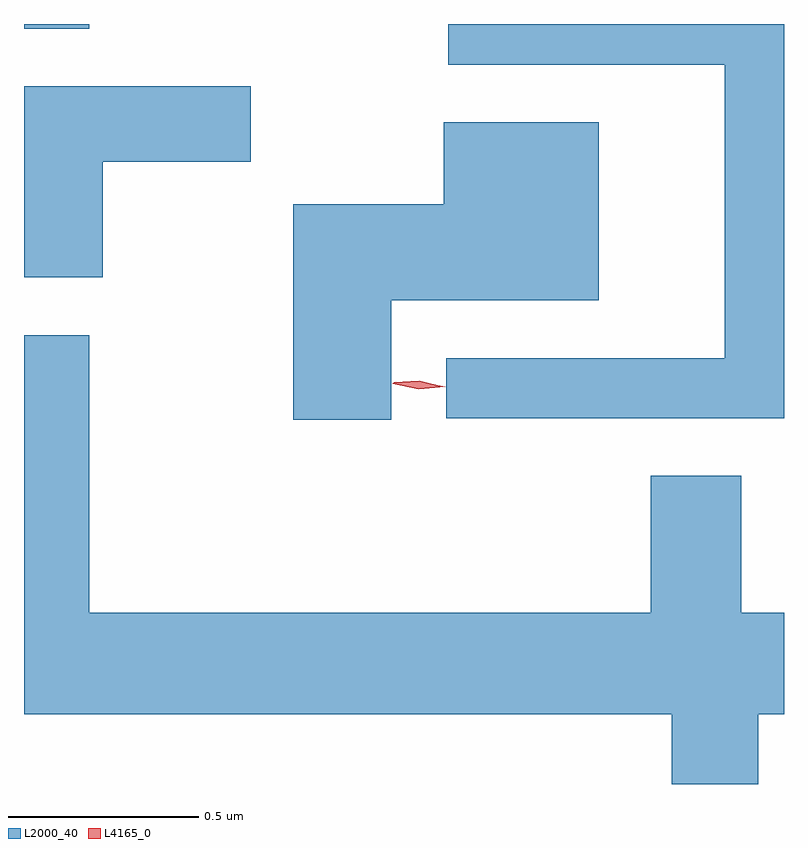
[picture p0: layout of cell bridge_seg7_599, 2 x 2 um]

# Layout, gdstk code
import gdstk
lib = gdstk.Library(unit=1e-6, precision=1e-09)
def R(c, l, rs):  # rectangles x0, y0, x1, y1
    for r in rs: c.add(gdstk.rectangle(r[:2], r[2:], *l))
def P(c, l, *ps):  # polygons
    for p in ps: c.add(gdstk.Polygon(p, *l))
L2000_40 = (2000, 40)
L4165_0 = (4165, 0)

bridge_seg7_599 = lib.new_cell('bridge_seg7_599')
R(bridge_seg7_599, L2000_40, [(763.267,1747.201,763.439,1747.213)])
P(bridge_seg7_599, L2000_40, [(765.267,1747.213),(764.383,1747.213),(764.383,1747.106),(765.111,1747.106),(765.111,1746.334),(764.378,1746.334),(764.378,1746.176),(765.267,1746.176)],
  [(763.474,1746.851),(763.864,1746.851),(763.864,1747.049),(763.267,1747.049),(763.267,1746.546),(763.474,1746.546)],
  [(764.234,1746.486),(764.779,1746.486),(764.779,1746.954),(764.371,1746.954),(764.371,1746.739),(763.976,1746.739),(763.976,1746.171),(764.234,1746.171)],
  [(765.199,1745.396),(765.267,1745.396),(765.267,1745.664),(765.154,1745.664),(765.154,1746.024),(764.916,1746.024),(764.916,1745.664),(763.439,1745.664),(763.439,1746.394),(763.267,1746.394),(763.267,1745.396),(764.971,1745.396),(764.971,1745.213),(765.199,1745.213)])
P(bridge_seg7_599, L4165_0, [(764.306,1746.252),(764.238,1746.266),(764.238,1746.266),(764.238,1746.267),(764.307,1746.272),(764.375,1746.259),(764.376,1746.258),(764.375,1746.258)],
  [(764.306,1746.254),(764.241,1746.269),(764.24,1746.269),(764.241,1746.27),(764.307,1746.274),(764.372,1746.259),(764.372,1746.258),(764.372,1746.258)])

lib.write_gds('bridge_seg7_599.gds')
